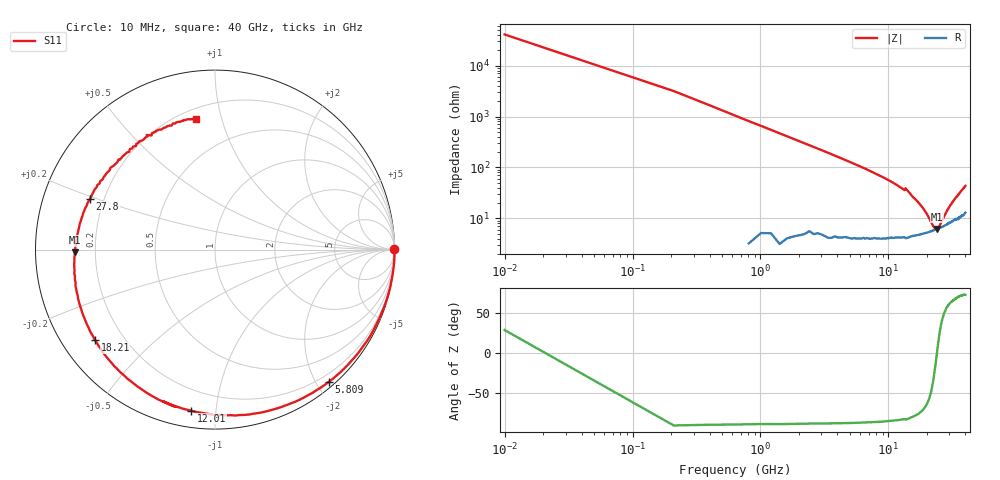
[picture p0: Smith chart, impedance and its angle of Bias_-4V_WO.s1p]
!Agilent Technologies,N5227A,US51270434,A.10.00.00
!Agilent N5227A: A.10.00.00
!Date: Monday, March 30, 2026 11:21:45
!Correction: S11(Full 1 Port(1))
!S1P File: Measurement: S11:
# Hz S  dB  R 50
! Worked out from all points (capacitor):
!   201 points, 10 MHz to 40 GHz, reference 50 ohm
!   read as one part to ground: C = 240 fF near 209.9 MHz
!   lowest |Z| = 6.17 ohm at 23.8 GHz (marker M1)
!   series resonance near 23.98 GHz, so ESL is about 180 pH
!   S11 on the Smith chart (normalised r, x): 10 MHz: open; 5.809 GHz: 0.08, -2.18; 12.01 GHz: 0.08, -0.86; 18.21 GHz: 0.10, -0.33; 27.8 GHz: 0.15, +0.19; 40 GHz: 0.26, +0.83
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1e7  -0.02 0.1
1.00975e9  -0.01 -8.7
2.20945e9  -0.05 -19.1
3.40915e9  -0.09 -29.2
5.00875e9  -0.19 -42.6
5.80855e9  -0.24 -49.3
7.00825e9  -0.34 -59.1
8.008e9  -0.43 -67.2
1.00075e10  -0.62 -83.1
1.2007e10  -0.84 -98.5
1.340665e10  -0.98 -109.0
1.36066e10  -0.88 -104.1
1.500625e10  -1.15 -119.9
1.540615e10  -1.22 -124.1
1.620595e10  -1.32 -129.6
1.820545e10  -1.54 -143.1
2.0005e10  -1.74 -155.0
2.16046e10  -1.90 -165.4
2.380405e10  -2.15 -178.9
2.500375e10  -2.25 173.9
2.780305e10  -2.49 157.9
3.00025e10  -2.63 145.9
3.180205e10  -2.67 136.9
3.500125e10  -2.67 121.8
3.540115e10  -2.58 120.8
3.56011e10  -2.76 119.1
3.780055e10  -2.60 108.4
4e10  -2.65 98.4
